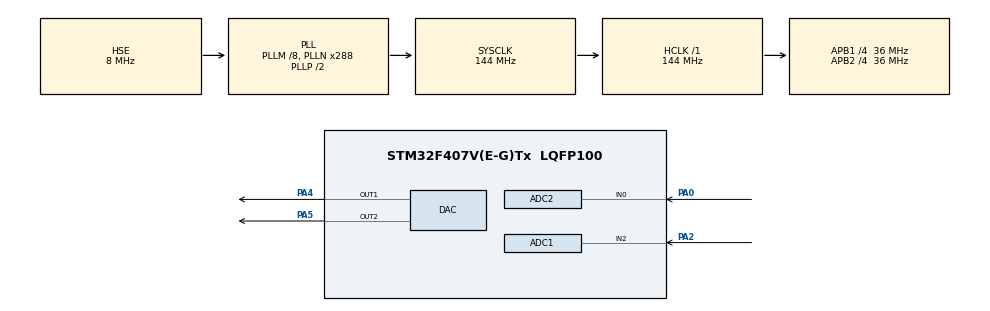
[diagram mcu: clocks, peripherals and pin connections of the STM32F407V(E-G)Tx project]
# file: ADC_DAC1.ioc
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ADC1.Channel-0\#ChannelRegularConversion=ADC_CHANNEL_2
ADC1.ClockPrescaler=ADC_CLOCK_SYNC_PCLK_DIV2
ADC1.ContinuousConvMode=ENABLE
ADC1.DMAContinuousRequests=DISABLE
ADC1.DataAlign=ADC_DATAALIGN_RIGHT
ADC1.DiscontinuousConvMode=DISABLE
ADC1.EOCSelection=ADC_EOC_SEQ_CONV
ADC1.EnableAnalogWatchDog=false
ADC1.ExternalTrigConv=ADC_SOFTWARE_START
ADC1.ExternalTrigConvEdge=ADC_EXTERNALTRIGCONVEDGE_NONE
ADC1.InjNumberOfConversion=0
ADC1.NbrOfConversion=1
ADC1.NbrOfConversionFlag=1
ADC1.Rank-0\#ChannelRegularConversion=1
ADC1.Resolution=ADC_RESOLUTION_10B
ADC1.SamplingTime-0\#ChannelRegularConversion=ADC_SAMPLETIME_3CYCLES
ADC1.ScanConvMode=DISABLE
ADC1.master=1
ADC2.Channel-0\#ChannelRegularConversion=ADC_CHANNEL_0
ADC2.ContinuousConvMode=ENABLE
ADC2.EOCSelection=ADC_EOC_SEQ_CONV
ADC2.NbrOfConversion=1
ADC2.NbrOfConversionFlag=1
ADC2.Rank-0\#ChannelRegularConversion=1
ADC2.Resolution=ADC_RESOLUTION_10B
ADC2.SamplingTime-0\#ChannelRegularConversion=ADC_SAMPLETIME_3CYCLES
Mcu.Family=STM32F4
Mcu.Name=STM32F407V(E-G)Tx
Mcu.Package=LQFP100
NVIC.PriorityGroup=NVIC_PRIORITYGROUP_4
PA0-WKUP.Signal=ADCx_IN0
PA2.Signal=ADCx_IN2
PA4.Signal=COMP_DAC1_group
PA5.Signal=COMP_DAC2_group
PH0-OSC_IN.Mode=HSE-External-Oscillator
PH0-OSC_IN.Signal=RCC_OSC_IN
PH1-OSC_OUT.Mode=HSE-External-Oscillator
PH1-OSC_OUT.Signal=RCC_OSC_OUT
ProjectManager.HeapSize=0x200
ProjectManager.StackSize=0x400
ProjectManager.TargetToolchain=MDK-ARM V5
RCC.48MHZClocksFreq_Value=72000000
RCC.AHBFreq_Value=144000000
RCC.APB1CLKDivider=RCC_HCLK_DIV4
RCC.APB1Freq_Value=36000000
RCC.APB1TimFreq_Value=72000000
RCC.APB2CLKDivider=RCC_HCLK_DIV4
RCC.APB2Freq_Value=36000000
RCC.APB2TimFreq_Value=72000000
RCC.CortexFreq_Value=144000000
RCC.HCLKFreq_Value=144000000
RCC.HSE_VALUE=8000000
RCC.HSI_VALUE=16000000
RCC.LSE_VALUE=32768
RCC.PLLM=8
RCC.PLLN=288
RCC.PLLSourceVirtual=RCC_PLLSOURCE_HSE
RCC.SYSCLKFreq_VALUE=144000000
RCC.SYSCLKSource=RCC_SYSCLKSOURCE_PLLCLK
RCC.VCOOutputFreq_Value=288000000
SH.ADCx_IN0.0=ADC2_IN0,IN0
SH.ADCx_IN2.0=ADC1_IN2,IN2
SH.COMP_DAC1_group.0=DAC_OUT1,DAC_OUT1
SH.COMP_DAC2_group.0=DAC_OUT2,DAC_OUT2
board=ADC_DAC1

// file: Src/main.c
/**
  ******************************************************************************
  * @file           : main.c
  * @brief          : Main program body
  ******************************************************************************
  ** This notice applies to any and all portions of this file
  * that are not between comment pairs USER CODE BEGIN and
  * USER CODE END. Other portions of this file, whether
  * inserted by the user or by software development tools
  * are owned by their respective copyright owners.
  *
  * COPYRIGHT(c) 2018 STMicroelectronics
  *
  * Redistribution and use in source and binary forms, with or without modification,
  * are permitted provided that the following conditions are met:
  *   1. Redistributions of source code must retain the above copyright notice,
  *      this list of conditions and the following disclaimer.
  *   2. Redistributions in binary form must reproduce the above copyright notice,
  *      this list of conditions and the following disclaimer in the documentation
  *      and/or other materials provided with the distribution.
  *   3. Neither the name of STMicroelectronics nor the names of its contributors
  *      may be used to endorse or promote products derived from this software
  *      without specific prior written permission.
  *
  * THIS SOFTWARE IS PROVIDED BY THE COPYRIGHT HOLDERS AND CONTRIBUTORS "AS IS"
  * AND ANY EXPRESS OR IMPLIED WARRANTIES, INCLUDING, BUT NOT LIMITED TO, THE
  * IMPLIED WARRANTIES OF MERCHANTABILITY AND FITNESS FOR A PARTICULAR PURPOSE ARE
  * DISCLAIMED. IN NO EVENT SHALL THE COPYRIGHT HOLDER OR CONTRIBUTORS BE LIABLE
  * FOR ANY DIRECT, INDIRECT, INCIDENTAL, SPECIAL, EXEMPLARY, OR CONSEQUENTIAL
  * DAMAGES (INCLUDING, BUT NOT LIMITED TO, PROCUREMENT OF SUBSTITUTE GOODS OR
  * SERVICES; LOSS OF USE, DATA, OR PROFITS; OR BUSINESS INTERRUPTION) HOWEVER
  * CAUSED AND ON ANY THEORY OF LIABILITY, WHETHER IN CONTRACT, STRICT LIABILITY,
  * OR TORT (INCLUDING NEGLIGENCE OR OTHERWISE) ARISING IN ANY WAY OUT OF THE USE
  * OF THIS SOFTWARE, EVEN IF ADVISED OF THE POSSIBILITY OF SUCH DAMAGE.
  *
  ******************************************************************************
  */
#include "main.h"
#include "stm32f4xx_hal.h"

ADC_HandleTypeDef hadc1;
ADC_HandleTypeDef hadc2;

DAC_HandleTypeDef hdac;

/* USER CODE BEGIN PV */
/* Private variables ---------------------------------------------------------*/
//uint16_t i,j;
//volatile uint16_t val[1024];

/* USER CODE END PV */

void SystemClock_Config(void);
static void MX_GPIO_Init(void);
static void MX_DAC_Init(void);
static void MX_ADC1_Init(void);
static void MX_ADC2_Init(void);

/* USER CODE BEGIN PFP */
/* Private function prototypes -----------------------------------------------*/

/* USER CODE END PFP */

int main(void)
{
  /* USER CODE BEGIN 1 */
volatile uint16_t temp;
volatile uint16_t temp2;

  /* USER CODE END 1 */

  /* MCU Configuration----------------------------------------------------------*/

  /* Reset of all peripherals, Initializes the Flash interface and the Systick. */
  HAL_Init();

  /* Configure the system clock */
  SystemClock_Config();

  /* Initialize all configured peripherals */
  MX_GPIO_Init();
  MX_DAC_Init();
  MX_ADC1_Init();
  MX_ADC2_Init();
  /* USER CODE BEGIN 2 */

	HAL_DAC_Start(&hdac, DAC_CHANNEL_1);
	HAL_ADC_Start(&hadc1);

	HAL_DAC_Start(&hdac, DAC_CHANNEL_2);
	HAL_ADC_Start(&hadc2);
	//for(i=0 ; i<1024 ; i++)
	//	val[i] = i;

  /* USER CODE END 2 */

  /* Infinite loop */
  /* USER CODE BEGIN WHILE */
  while (1)
  {
		//=========For Primary Mic==============//
		//	ADC for primary mic is on ...
		temp = HAL_ADC_GetValue(&hadc1);
		temp = ((temp & 0x3FF));
		temp = ((temp ^ 0x3FF) + 1);
		temp = temp * 4;
		//HAL_DAC_SetValue(&hdac, DAC_CHANNEL_1, DAC_ALIGN_12B_R, temp);
		//======================================//

		//=========For Error Mic==============//
		temp2 = HAL_ADC_GetValue(&hadc2);
		temp2 = ((temp2 & 0x3FF));
		temp2 = ((temp2 ^ 0x3FF) + 1);
		temp2 = temp2 * 4;
		HAL_DAC_SetValue(&hdac, DAC_CHANNEL_2, DAC_ALIGN_12B_R, temp2);
		//HAL_DAC_SetValue(&hdac, DAC_CHANNEL_2, DAC_ALIGN_12B_R, temp+temp2);
		//======================================//

  /* USER CODE END WHILE */

  }

}

void SystemClock_Config(void)
{

  RCC_OscInitTypeDef RCC_OscInitStruct;
  RCC_ClkInitTypeDef RCC_ClkInitStruct;

    /**Configure the main internal regulator output voltage
    */
  __HAL_RCC_PWR_CLK_ENABLE();

  __HAL_PWR_VOLTAGESCALING_CONFIG(PWR_REGULATOR_VOLTAGE_SCALE1);

    /**Initializes the CPU, AHB and APB busses clocks
    */
  RCC_OscInitStruct.OscillatorType = RCC_OSCILLATORTYPE_HSE;
  RCC_OscInitStruct.HSEState = RCC_HSE_ON;
  RCC_OscInitStruct.PLL.PLLState = RCC_PLL_ON;
  RCC_OscInitStruct.PLL.PLLSource = RCC_PLLSOURCE_HSE;
  RCC_OscInitStruct.PLL.PLLM = 8;
  RCC_OscInitStruct.PLL.PLLN = 288;
  RCC_OscInitStruct.PLL.PLLP = RCC_PLLP_DIV2;
  RCC_OscInitStruct.PLL.PLLQ = 4;
  if (HAL_RCC_OscConfig(&RCC_OscInitStruct) != HAL_OK)
  {
    _Error_Handler(__FILE__, __LINE__);
  }

    /**Initializes the CPU, AHB and APB busses clocks
    */
  RCC_ClkInitStruct.ClockType = RCC_CLOCKTYPE_HCLK|RCC_CLOCKTYPE_SYSCLK
                              |RCC_CLOCKTYPE_PCLK1|RCC_CLOCKTYPE_PCLK2;
  RCC_ClkInitStruct.SYSCLKSource = RCC_SYSCLKSOURCE_PLLCLK;
  RCC_ClkInitStruct.AHBCLKDivider = RCC_SYSCLK_DIV1;
  RCC_ClkInitStruct.APB1CLKDivider = RCC_HCLK_DIV4;
  RCC_ClkInitStruct.APB2CLKDivider = RCC_HCLK_DIV4;

  if (HAL_RCC_ClockConfig(&RCC_ClkInitStruct, FLASH_LATENCY_4) != HAL_OK)
  {
    _Error_Handler(__FILE__, __LINE__);
  }

    /**Configure the Systick interrupt time
    */
  HAL_SYSTICK_Config(HAL_RCC_GetHCLKFreq()/1000);

    /**Configure the Systick
    */
  HAL_SYSTICK_CLKSourceConfig(SYSTICK_CLKSOURCE_HCLK);

  /* SysTick_IRQn interrupt configuration */
  HAL_NVIC_SetPriority(SysTick_IRQn, 0, 0);
}

/* ADC1 init function */
static void MX_ADC1_Init(void)
{

  ADC_ChannelConfTypeDef sConfig;

    /**Configure the global features of the ADC (Clock, Resolution, Data Alignment and number of conversion)
    */
  hadc1.Instance = ADC1;
  hadc1.Init.ClockPrescaler = ADC_CLOCK_SYNC_PCLK_DIV2;
  hadc1.Init.Resolution = ADC_RESOLUTION_10B;
  hadc1.Init.ScanConvMode = DISABLE;
  hadc1.Init.ContinuousConvMode = ENABLE;
  hadc1.Init.DiscontinuousConvMode = DISABLE;
  hadc1.Init.ExternalTrigConvEdge = ADC_EXTERNALTRIGCONVEDGE_NONE;
  hadc1.Init.ExternalTrigConv = ADC_SOFTWARE_START;
  hadc1.Init.DataAlign = ADC_DATAALIGN_RIGHT;
  hadc1.Init.NbrOfConversion = 1;
  hadc1.Init.DMAContinuousRequests = DISABLE;
  hadc1.Init.EOCSelection = ADC_EOC_SEQ_CONV;
  if (HAL_ADC_Init(&hadc1) != HAL_OK)
  {
    _Error_Handler(__FILE__, __LINE__);
  }

    /**Configure for the selected ADC regular channel its corresponding rank in the sequencer and its sample time.
    */
  sConfig.Channel = ADC_CHANNEL_2;
  sConfig.Rank = 1;
  sConfig.SamplingTime = ADC_SAMPLETIME_3CYCLES;
  if (HAL_ADC_ConfigChannel(&hadc1, &sConfig) != HAL_OK)
  {
    _Error_Handler(__FILE__, __LINE__);
  }

}

/* ADC2 init function */
static void MX_ADC2_Init(void)
{

  ADC_ChannelConfTypeDef sConfig;

    /**Configure the global features of the ADC (Clock, Resolution, Data Alignment and number of conversion)
    */
  hadc2.Instance = ADC2;
  hadc2.Init.ClockPrescaler = ADC_CLOCK_SYNC_PCLK_DIV2;
  hadc2.Init.Resolution = ADC_RESOLUTION_10B;
  hadc2.Init.ScanConvMode = DISABLE;
  hadc2.Init.ContinuousConvMode = ENABLE;
  hadc2.Init.DiscontinuousConvMode = DISABLE;
  hadc2.Init.ExternalTrigConvEdge = ADC_EXTERNALTRIGCONVEDGE_NONE;
  hadc2.Init.ExternalTrigConv = ADC_SOFTWARE_START;
  hadc2.Init.DataAlign = ADC_DATAALIGN_RIGHT;
  hadc2.Init.NbrOfConversion = 1;
  hadc2.Init.DMAContinuousRequests = DISABLE;
  hadc2.Init.EOCSelection = ADC_EOC_SEQ_CONV;
  if (HAL_ADC_Init(&hadc2) != HAL_OK)
  {
    _Error_Handler(__FILE__, __LINE__);
  }

    /**Configure for the selected ADC regular channel its corresponding rank in the sequencer and its sample time.
    */
  sConfig.Channel = ADC_CHANNEL_0;
  sConfig.Rank = 1;
  sConfig.SamplingTime = ADC_SAMPLETIME_3CYCLES;
  if (HAL_ADC_ConfigChannel(&hadc2, &sConfig) != HAL_OK)
  {
    _Error_Handler(__FILE__, __LINE__);
  }

}

/* DAC init function */
static void MX_DAC_Init(void)
{

  DAC_ChannelConfTypeDef sConfig;

    /**DAC Initialization
    */
  hdac.Instance = DAC;
  if (HAL_DAC_Init(&hdac) != HAL_OK)
  {
    _Error_Handler(__FILE__, __LINE__);
  }

    /**DAC channel OUT1 config
    */
  sConfig.DAC_Trigger = DAC_TRIGGER_NONE;
  sConfig.DAC_OutputBuffer = DAC_OUTPUTBUFFER_ENABLE;
  if (HAL_DAC_ConfigChannel(&hdac, &sConfig, DAC_CHANNEL_1) != HAL_OK)
  {
    _Error_Handler(__FILE__, __LINE__);
  }

    /**DAC channel OUT2 config
    */
  if (HAL_DAC_ConfigChannel(&hdac, &sConfig, DAC_CHANNEL_2) != HAL_OK)
  {
    _Error_Handler(__FILE__, __LINE__);
  }

}

/** Configure pins as
        * Analog
        * Input
        * Output
        * EVENT_OUT
        * EXTI
*/
static void MX_GPIO_Init(void)
{

  /* GPIO Ports Clock Enable */
  __HAL_RCC_GPIOH_CLK_ENABLE();
  __HAL_RCC_GPIOA_CLK_ENABLE();

}

void _Error_Handler(char *file, int line)
{
  while(1)
  {
  }
}

/************************ (C) COPYRIGHT STMicroelectronics *****END OF FILE****/
